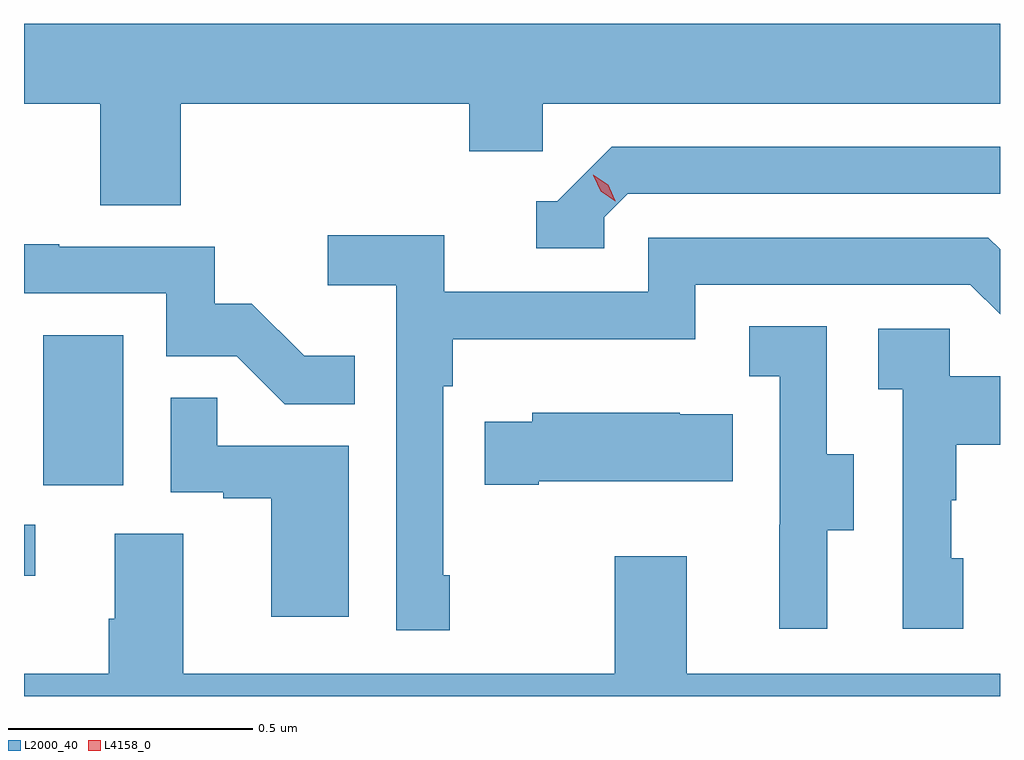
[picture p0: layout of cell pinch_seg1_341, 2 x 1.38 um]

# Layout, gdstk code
import gdstk
lib = gdstk.Library(unit=1e-6, precision=1e-09)
def R(c, l, rs):  # rectangles x0, y0, x1, y1
    for r in rs: c.add(gdstk.rectangle(r[:2], r[2:], *l))
def P(c, l, *ps):  # polygons
    for p in ps: c.add(gdstk.Polygon(p, *l))
L2000_40 = (2000, 40)
L4158_0 = (4158, 0)

pinch_seg1_341 = lib.new_cell('pinch_seg1_341')
R(pinch_seg1_341, L2000_40, [(1001.777,542.772,1001.8,542.877), (1001.816,542.958,1001.98,543.265)])
P(pinch_seg1_341, L2000_40, [(1002.098,543.74),(1002.689,543.74),(1002.689,543.642),(1002.84,543.642),(1002.84,543.74),(1003.777,543.74),(1003.777,543.904),(1001.777,543.904),(1001.777,543.74),(1001.933,543.74),(1001.933,543.532),(1002.098,543.532)],
  [(1002.966,543.507),(1003.014,543.555),(1003.777,543.555),(1003.777,543.651),(1002.981,543.651),(1002.87,543.54),(1002.827,543.54),(1002.827,543.444),(1002.966,543.444)],
  [(1002.649,542.773),(1002.636,542.773),(1002.636,543.161),(1002.656,543.161),(1002.656,543.257),(1003.152,543.257),(1003.152,543.369),(1003.716,543.369),(1003.777,543.308),(1003.777,543.441),(1003.753,543.465),(1003.056,543.465),(1003.056,543.354),(1002.638,543.354),(1002.638,543.47),(1002.399,543.47),(1002.399,543.368),(1002.54,543.368),(1002.54,542.661),(1002.649,542.661)],
  [(1002.455,543.223),(1002.351,543.223),(1002.244,543.33),(1002.168,543.33),(1002.168,543.447),(1001.849,543.447),(1001.849,543.452),(1001.777,543.452),(1001.777,543.351),(1002.069,543.351),(1002.069,543.222),(1002.213,543.222),(1002.311,543.124),(1002.455,543.124)],
  [(1003.423,542.866),(1003.477,542.866),(1003.477,543.021),(1003.422,543.021),(1003.422,543.284),(1003.263,543.284),(1003.263,543.181),(1003.326,543.181),(1003.326,542.877),(1003.325,542.877),(1003.325,542.664),(1003.423,542.664)],
  [(1003.702,542.808),(1003.677,542.808),(1003.677,542.927),(1003.687,542.927),(1003.687,543.041),(1003.777,543.041),(1003.777,543.181),(1003.674,543.181),(1003.674,543.279),(1003.527,543.279),(1003.527,543.155),(1003.578,543.155),(1003.578,542.664),(1003.702,542.664)],
  [(1002.442,543.039),(1002.173,543.039),(1002.173,543.137),(1002.078,543.137),(1002.078,542.943),(1002.185,542.943),(1002.185,542.931),(1002.284,542.931),(1002.284,542.688),(1002.442,542.688)],
  [(1002.832,542.966),(1003.229,542.966),(1003.229,543.103),(1003.121,543.103),(1003.121,543.106),(1002.819,543.106),(1002.819,543.088),(1002.721,543.088),(1002.721,542.959),(1002.832,542.959)],
  [(1003.777,542.572),(1003.135,542.572),(1003.135,542.812),(1002.988,542.812),(1002.988,542.572),(1002.103,542.572),(1002.103,542.858),(1001.963,542.858),(1001.963,542.684),(1001.951,542.684),(1001.951,542.572),(1001.777,542.572),(1001.777,542.525),(1003.777,542.525)])
P(pinch_seg1_341, L4158_0, [(1002.989,543.54),(1002.959,543.56),(1002.943,543.593),(1002.943,543.594),(1002.944,543.594),(1002.974,543.574),(1002.989,543.541),(1002.989,543.54)])

lib.write_gds('pinch_seg1_341.gds')
